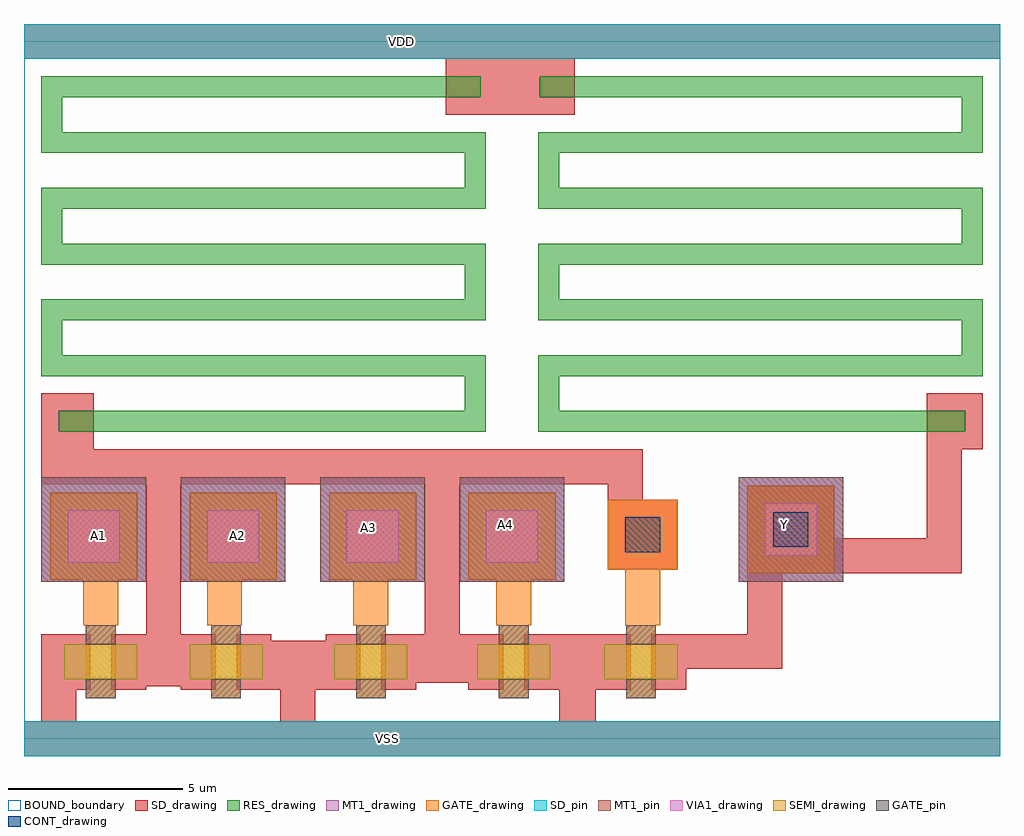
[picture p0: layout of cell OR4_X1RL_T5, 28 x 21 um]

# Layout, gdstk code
import gdstk
lib = gdstk.Library(unit=1e-6, precision=1e-09)
def R(c, l, rs):  # rectangles x0, y0, x1, y1
    for r in rs: c.add(gdstk.rectangle(r[:2], r[2:], *l))
def A(c, l, x, y, w, h, nx, ny, dx, dy):  # array of equal rectangles
    R(c, l, [(x+i*dx, y+j*dy, x+i*dx+w, y+j*dy+h) for i in range(nx) for j in range(ny)])
def P(c, l, *ps):  # polygons
    for p in ps: c.add(gdstk.Polygon(p, *l))
RES_drawing = (1, 0)
SEMI_drawing = (3, 0)
SD_drawing = (10, 0)
SD_pin = (10, 3)
GATE_drawing = (11, 0)
GATE_pin = (11, 3)
MT1_drawing = (20, 0)
MT1_pin = (20, 3)
CONT_drawing = (30, 0)
VIA1_drawing = (41, 0)
BOUND_boundary = (150, 5)

nch_cdns_772545140760 = lib.new_cell('nch_CDNS_772545140760')
R(nch_cdns_772545140760, SEMI_drawing, [(-1.05,-0.5,1.05,0.5)])
R(nch_cdns_772545140760, SD_drawing, [(-1.3,-0.8,-0.3,0.8), (0.3,-0.8,1.3,0.8)])
R(nch_cdns_772545140760, GATE_drawing, [(-0.425,-1.05,0.425,1.05)])
R(nch_cdns_772545140760, GATE_pin, [(-0.425,-1.05,0.425,-0.5), (-0.425,0.5,0.425,1.05)])

sd_gate_cdns_77254514076 = lib.new_cell('SD_GATE_CDNS_772545140760')
R(sd_gate_cdns_77254514076, SD_drawing, [(-1,-1,1,1)])
R(sd_gate_cdns_77254514076, GATE_drawing, [(-1,-1,1,1)])
R(sd_gate_cdns_77254514076, CONT_drawing, [(-0.5,-0.5,0.5,0.5)])

c_sd_gate_cdns_77254514076 = lib.new_cell('SD_GATE_CDNS_772545140761')
R(c_sd_gate_cdns_77254514076, SD_drawing, [(-1.25,-1.25,1.25,1.25)])
R(c_sd_gate_cdns_77254514076, GATE_drawing, [(-1.25,-1.25,1.25,1.25)])
R(c_sd_gate_cdns_77254514076, CONT_drawing, [(-0.5,-0.5,0.5,0.5)])

gate_mt1_cdns_7725451407 = lib.new_cell('GATE_MT1_CDNS_772545140762')
R(gate_mt1_cdns_7725451407, GATE_drawing, [(-1.25,-1.25,1.25,1.25)])
R(gate_mt1_cdns_7725451407, MT1_drawing, [(-1.25,-1.25,1.25,1.25)])
R(gate_mt1_cdns_7725451407, VIA1_drawing, [(-0.75,-0.75,0.75,0.75)])

gate_mt1_stack_cdns_7725 = lib.new_cell('GATE_MT1_STACK_CDNS_772545140763')
R(gate_mt1_stack_cdns_7725, GATE_drawing, [(-1.25,-1.25,1.25,1.25)])
R(gate_mt1_stack_cdns_7725, MT1_drawing, [(-1.25,-1.25,1.25,1.25)])
R(gate_mt1_stack_cdns_7725, VIA1_drawing, [(-0.75,-0.75,0.75,0.75)])

or4_x1rl_t5 = lib.new_cell('OR4_X1RL_T5')
R(or4_x1rl_t5, SD_drawing, [(0,-0.5,28,0.5), (0.5,0.5,1.5,3), (7.35,0.5,8.35,2.8), (15.35,0.5,16.4,3), (0.5,8.3,2,9.9), (25.9,8.3,27.5,9.9), (12.1,17.9,15.8,19.5), (0,19.5,28,20.5)])
R(or4_x1rl_t5, SD_pin, [(0,-0.5,28,0.5), (0,19.5,28,20.5)])
P(or4_x1rl_t5, GATE_drawing, [(18.25,3.35),(17.25,3.35),(17.25,3.25),(17.325,3.25),(17.325,3.2),(18.075,3.2),(18.075,3.25),(18.25,3.25)],
  [(6.25,3.35),(5.25,3.35),(5.25,3.25),(5.425,3.25),(5.425,3.2),(6.175,3.2),(6.175,3.25),(6.25,3.25)],
  [(2.7,3.35),(1.7,3.35),(1.7,3.25),(1.825,3.25),(1.825,3.2),(2.575,3.2),(2.575,3.25),(2.7,3.25)],
  [(10.45,3.35),(9.45,3.35),(9.45,3.25),(9.575,3.25),(9.575,3.2),(10.325,3.2),(10.325,3.25),(10.45,3.25)],
  [(14.55,3.35),(13.55,3.35),(13.55,3.25),(13.675,3.25),(13.675,3.2),(14.425,3.2),(14.425,3.25),(14.55,3.25)])
A(or4_x1rl_t5, MT1_drawing, 0.5, 4.5, 3, 3, 4, 1, 4, 0)
R(or4_x1rl_t5, MT1_drawing, [(20.5,4.5,23.5,7.5)])
A(or4_x1rl_t5, MT1_pin, 0.5, 4.5, 3, 3, 4, 1, 4, 0)
R(or4_x1rl_t5, MT1_pin, [(20.5,4.5,23.5,7.5)])
R(or4_x1rl_t5, BOUND_boundary, [(0,0,28,20)])
or4_x1rl_t5.add(gdstk.FlexPath([(17.25,7.8),(17.25,5.55)], 1, ends=(0.5, 0), simple_path=True, layer=10, datatype=0))  # SD_drawing
or4_x1rl_t5.add(gdstk.FlexPath([(19,2.5),(21.25,2.5)], 1, ends=(0, 0.5), simple_path=True, layer=10, datatype=0))  # SD_drawing
or4_x1rl_t5.add(gdstk.FlexPath([(0.5,7.8),(17.25,7.8)], 1, ends=(0, 0.5), simple_path=True, layer=10, datatype=0))  # SD_drawing
or4_x1rl_t5.add(gdstk.FlexPath([(23.7,5.25),(26.4,5.25)], 1, ends="extended", simple_path=True, layer=10, datatype=0))  # SD_drawing
or4_x1rl_t5.add(gdstk.FlexPath([(21.25,2.5),(21.25,4.25)], 1, ends="extended", simple_path=True, layer=10, datatype=0))  # SD_drawing
or4_x1rl_t5.add(gdstk.FlexPath([(26.4,5.25),(26.4,8.3)], 1, ends=(0.5, 0), simple_path=True, layer=10, datatype=0))  # SD_drawing
or4_x1rl_t5.add(gdstk.FlexPath([(12,3.6),(12,6.8)], 1, ends=(0.7, 0.5), simple_path=True, layer=10, datatype=0))  # SD_drawing
or4_x1rl_t5.add(gdstk.FlexPath([(4,1.5),(4,6.8)], 1, ends=(0, 0.5), simple_path=True, layer=10, datatype=0))  # SD_drawing
or4_x1rl_t5.add(gdstk.FlexPath([(11.25,2.3),(12.75,2.3)], 1.4, ends="flush", simple_path=True, layer=10, datatype=0))  # SD_drawing
or4_x1rl_t5.add(gdstk.FlexPath([(8.65,2.1),(7.075,2.1)], 1.4, ends="flush", simple_path=True, layer=10, datatype=0))  # SD_drawing
or4_x1rl_t5.add(gdstk.FlexPath([(2.2,3.35),(2.2,4.9)], 1, ends="flush", simple_path=True, layer=11, datatype=0))  # GATE_drawing
or4_x1rl_t5.add(gdstk.FlexPath([(17.75,5.3),(17.75,3.35)], 1, ends="flush", simple_path=True, layer=11, datatype=0))  # GATE_drawing
or4_x1rl_t5.add(gdstk.FlexPath([(14.05,3.35),(14.05,5.05)], 1, ends="flush", simple_path=True, layer=11, datatype=0))  # GATE_drawing
or4_x1rl_t5.add(gdstk.FlexPath([(9.95,3.35),(9.95,5.05)], 1, ends="flush", simple_path=True, layer=11, datatype=0))  # GATE_drawing
or4_x1rl_t5.add(gdstk.FlexPath([(5.75,3.35),(5.75,4.9)], 1, ends="flush", simple_path=True, layer=11, datatype=0))  # GATE_drawing
or4_x1rl_t5.add(gdstk.FlexPath([(14.8,18.7),(27.2,18.7),(27.2,17.1),(15.05,17.1),(15.05,15.5),(27.2,15.5),(27.2,13.9),(15.05,13.9),(15.05,12.3),(27.2,12.3),(27.2,10.7),(15.05,10.7),(15.05,9.1),(27,9.1)], 0.6, ends="flush", simple_path=True, layer=1, datatype=0))  # RES_drawing
or4_x1rl_t5.add(gdstk.FlexPath([(13.1,18.7),(0.8,18.7),(0.8,17.1),(12.95,17.1),(12.95,15.5),(0.8,15.5),(0.8,13.9),(12.95,13.9),(12.95,12.3),(0.8,12.3),(0.8,10.7),(12.95,10.7),(12.95,9.1),(1,9.1)], 0.6, ends="flush", simple_path=True, layer=1, datatype=0))  # RES_drawing
or4_x1rl_t5.add(gdstk.Reference(nch_cdns_772545140760, (17.7,2.2), x_reflection=True))
or4_x1rl_t5.add(gdstk.Reference(nch_cdns_772545140760, (9.95,2.2), x_reflection=True))
or4_x1rl_t5.add(gdstk.Reference(nch_cdns_772545140760, (5.8,2.2)))
or4_x1rl_t5.add(gdstk.Reference(nch_cdns_772545140760, (14.05,2.2), x_reflection=True))
or4_x1rl_t5.add(gdstk.Reference(nch_cdns_772545140760, (2.2,2.2)))
or4_x1rl_t5.add(gdstk.Reference(sd_gate_cdns_77254514076, (17.75,5.85)))
or4_x1rl_t5.add(gdstk.Reference(c_sd_gate_cdns_77254514076, (22,6)))
or4_x1rl_t5.add(gdstk.Reference(gate_mt1_cdns_7725451407, (22,6)))
or4_x1rl_t5.add(gdstk.Reference(gate_mt1_stack_cdns_7725, (2,5.8)))
or4_x1rl_t5.add(gdstk.Reference(gate_mt1_stack_cdns_7725, (6,5.8)))
or4_x1rl_t5.add(gdstk.Reference(gate_mt1_stack_cdns_7725, (10,5.8)))
or4_x1rl_t5.add(gdstk.Reference(gate_mt1_stack_cdns_7725, (14,5.8)))
or4_x1rl_t5.add(gdstk.Label('A1', (2.125,5.825), layer=20, texttype=3))
or4_x1rl_t5.add(gdstk.Label('A4', (13.825,6.15), layer=20, texttype=3))
or4_x1rl_t5.add(gdstk.Label('A3', (9.875,6.05), layer=20, texttype=3))
or4_x1rl_t5.add(gdstk.Label('Y', (21.825,6.15), layer=20, texttype=3))
or4_x1rl_t5.add(gdstk.Label('A2', (6.125,5.825), layer=20, texttype=3))
or4_x1rl_t5.add(gdstk.Label('VDD', (10.825,20), layer=10, texttype=3))
or4_x1rl_t5.add(gdstk.Label('VSS', (10.425,0), layer=10, texttype=3))

lib.write_gds('OR4_X1RL_T5.gds')
